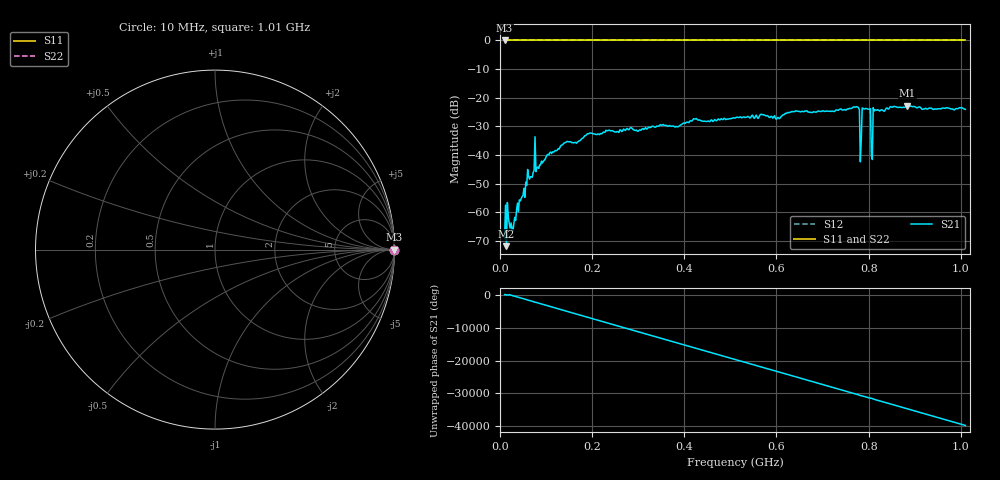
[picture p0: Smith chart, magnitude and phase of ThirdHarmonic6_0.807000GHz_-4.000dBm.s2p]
! 8/16/2025 2:52:36 AM
! C:\ANRITSUVNA\TEMP\TEMP.S2P
! CHANNEL.1
! TR.MEASUREMENT
! RAW.DATA
! RF.CORRECTION.OFF
! AVERAGING.OFF
! IF.BANDWIDTH: 5KHZ
! SWEEPTYPE:  FREQ.SWEEP(Linear)
! Reference Plane Port Info
! PORT:  PORT1  PORT2
! DISTANCE:  0  m  0  m
! TIME:  0  s  0  s
! PHASE.OFFSET:  0  deg.  0  deg.
! LOSS:  0  dB  0  dB
! REF.LOSS:  0  dB  0  dB
! REF.FREQ:  0  Hz  0  Hz
! Power Info
! POWER:  -20  dBm  -20  dBm
! EFF.POWER:  -20  dBm  -20  dBm
! SOURCE.ATTEN:  0  dB  0  dB
! TEST.ATTEN:  0  dB  0  dB
# GHZ S RI R 50.0
! FREQ.GHZ  S11RE  S11IM  S21RE  S21IM  S12RE  S12IM  S22RE  S22IM
!; PortSelection: Port_12
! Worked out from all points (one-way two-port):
!   501 points, 10 MHz to 1.01 GHz, reference 50 ohm
!   highest |S21| = -22.73 dB at 884 MHz (marker M1); lowest = -71.8 dB at 14 MHz (marker M2)
!   lowest |S11| = 0.0 dB at 10 MHz (marker M3)
!   |S11| at or under -10 dB: nowhere
!   |S22| runs from 0.0 to 0.0 dB; largest |S21 - S12| = 1.1
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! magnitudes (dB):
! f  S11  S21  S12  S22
! 10 MHz  0.0  -68.9  0.0  0.0
! 14 MHz  0.0  -71.8  0.0  0.0
! 30 MHz  0.0  -64.0  0.0  0.0
! 60 MHz  0.0  -45.0  0.0  0.0
! 78 MHz  0.0  -45.8  0.0  0.0
! 82 MHz  0.0  -44.2  0.0  0.0
! 142 MHz  0.0  -35.6  0.0  0.0
! 178 MHz  0.0  -34.2  0.0  0.0
! 344 MHz  0.0  -29.9  0.0  0.0
! 510 MHz  0.0  -27.1  0.0  0.0
! 678 MHz  0.0  -25.1  0.0  0.0
! 774 MHz  0.0  -23.1  0.0  0.0
! 780 MHz  0.0  -24.2  0.0  0.0
! 784 MHz  0.0  -34.8  0.0  0.0
! 790 MHz  0.0  -23.9  0.0  0.0
! 800 MHz  0.0  -24.0  0.0  0.0
! 804 MHz  0.0  -23.8  0.0  0.0
! 810 MHz  0.0  -23.5  0.0  0.0
! 814 MHz  0.0  -24.3  0.0  0.0
! 844 MHz  0.0  -23.8  0.0  0.0
! 884 MHz  0.0  -22.7  0.0  0.0
! 1.01 GHz  0.0  -24.0  0.0  0.0
